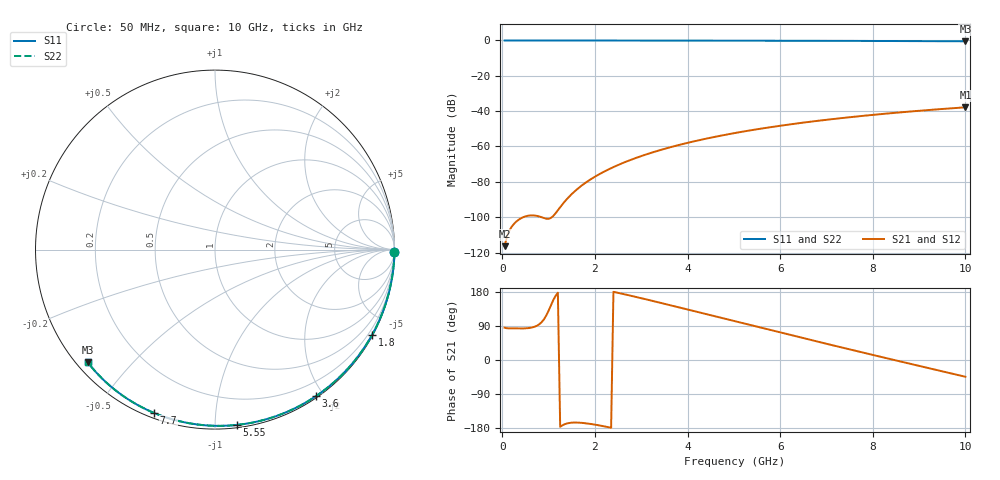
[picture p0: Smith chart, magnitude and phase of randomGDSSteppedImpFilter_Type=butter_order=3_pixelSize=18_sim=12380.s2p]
! freq	dB(S11)	phase(S11)	dB(S12)	phase(S12)
!  dB(S21)	phase(S21)	dB(S22)	phase(S22)
!S-par simulation data
#  GHz  S  DB  R 50
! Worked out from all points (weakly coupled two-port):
!   200 points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, 50 MHz to 10 GHz, reference 50 ohm
!   highest |S21| = -37.83 dB at 10 GHz (marker M1); lowest = -116.4 dB at 50 MHz (marker M2)
!   lowest |S11| = -0.5 dB at 10 GHz (marker M3), VSWR 37.03, Z = 1.54 - j18.9 ohm
!   |S11| at or under -10 dB: nowhere
!   |S22| runs from -0.5 to 0.0 dB; largest |S21 - S12| = 0
!   S11 on the Smith chart (normalised r, x): 50 MHz: open; 1.8 GHz: 0.03, -3.95; 3.6 GHz: 0.02, -1.90; 5.55 GHz: 0.02, -1.13; 7.7 GHz: 0.02, -0.69; 10 GHz: 0.03, -0.38
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0.05  -0.00 -0.8  -116.40 85.3  -116.40 85.3  -0.00 -0.8
0.45  -0.01 -7.2  -100.02 83.3  -100.02 83.3  -0.01 -7.2
0.9  -0.02 -14.3  -100.51 107.3  -100.51 107.3  -0.02 -14.3
1.75  -0.04 -27.6  -81.41 -166.2  -81.41 -166.2  -0.04 -27.6
1.8  -0.04 -28.4  -80.47 -166.9  -80.47 -166.9  -0.04 -28.4
1.85  -0.04 -29.2  -79.57 -167.7  -79.57 -167.7  -0.04 -29.2
2.05  -0.04 -32.3  -76.33 -171.6  -76.33 -171.6  -0.04 -32.3
2.25  -0.05 -35.3  -73.52 -176.3  -73.52 -176.3  -0.05 -35.3
2.55  -0.05 -39.9  -69.91 175.9  -69.91 175.9  -0.05 -39.9
2.95  -0.06 -45.9  -65.88 164.6  -65.88 164.6  -0.06 -45.9
3.4  -0.07 -52.6  -62.10 151.3  -62.10 151.3  -0.07 -52.6
3.6  -0.07 -55.5  -60.62 145.4  -60.62 145.4  -0.07 -55.5
3.9  -0.08 -59.8  -58.57 136.3  -58.57 136.3  -0.08 -59.8
4.3  -0.09 -65.5  -56.14 124.2  -56.14 124.2  -0.09 -65.5
5.05  -0.12 -76.0  -52.25 101.4  -52.25 101.4  -0.12 -76.0
5.55  -0.14 -82.8  -50.04 86.3  -50.04 86.3  -0.14 -82.8
6.1  -0.16 -90.1  -47.89 69.7  -47.89 69.7  -0.16 -90.1
6.7  -0.19 -97.9  -45.83 51.7  -45.83 51.7  -0.19 -97.9
7.7  -0.25 -110.5  -42.89 22.2  -42.89 22.2  -0.25 -110.5
8.35  -0.30 -118.5  -41.25 3.2  -41.25 3.2  -0.30 -118.5
9.2  -0.38 -128.8  -39.37 -21.3  -39.37 -21.3  -0.38 -128.8
10  -0.47 -138.5  -37.83 -44.2  -37.83 -44.2  -0.47 -138.5
